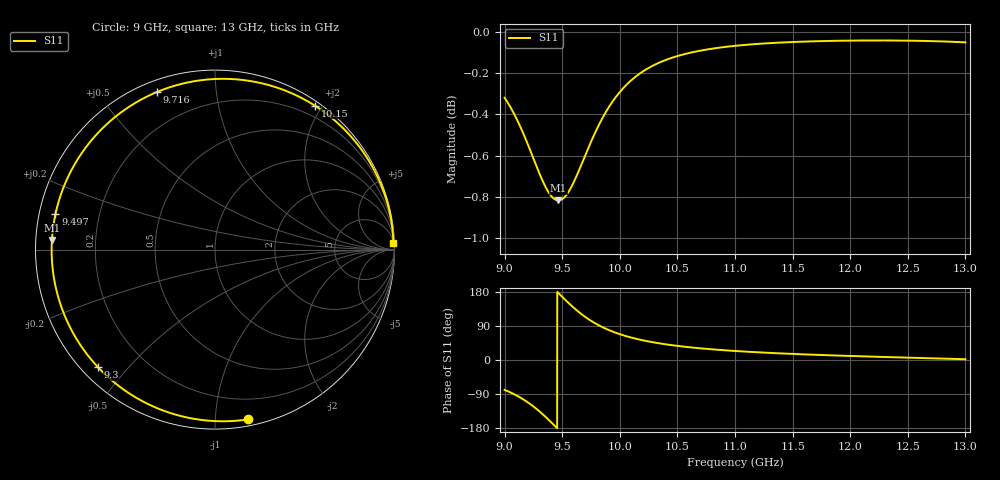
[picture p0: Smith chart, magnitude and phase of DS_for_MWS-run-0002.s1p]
! TOUCHSTONE file generated by CST DESIGN STUDIO
! Date and time: Tue Feb  4 18:46:36 2025
! Project name: C:\Work\MatlabApps\UnitCellOptimizationMatlab\CST\unitcell.cst
! Tree item: Tasks\Sweep1\SPara1\S-Parameters
! Header version: 2024
! Port assignment regex: !\s*Touchstone port\s*([0-9]+)\s*=\s*(CST MWS port|CST DES external port|CST DES block port)\s*(.+)\s* \(\"(.*)\"\)(\s*mode\s*([0-9]+))?.*
! Touchstone port assignment:
! Touchstone port 1 = CST DES external port 1 ("")
# GHz S MA R 50
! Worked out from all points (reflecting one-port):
!   4001 points, 9 GHz to 13 GHz, reference 50 ohm
!   lowest |S11| = -0.8 dB at 9.467 GHz (marker M1), VSWR 21.26, Z = 2.35 + j1.46 ohm
!   phase of S11 starts at -79 deg and turns -279 deg over the sweep
!   S11 on the Smith chart (normalised r, x): 9 GHz: 0.05, -1.22; 9.3 GHz: 0.05, -0.41; 9.497 GHz: 0.05, +0.11; 9.716 GHz: 0.05, +0.70; 10.15 GHz: 0.06, +1.91; 13 GHz: 9, +55
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9  0.964 -78.8
9.073  0.9564 -88.8
9.169  0.9439 -105.3
9.237  0.9338 -119.5
9.3  0.9243 -134.9
9.343  0.9185 -146.5
9.39  0.9135 -160.1
9.429  0.911 -171.8
9.467  0.9101 176.7
9.497  0.9107 167.5
9.5  0.9108 166.6
9.551  0.9141 151.6
9.61  0.9207 135.3
9.662  0.9279 122.3
9.716  0.9357 110.2
9.772  0.9435 99.3
9.834  0.9513 89.0
9.915  0.9599 77.7
10  0.9671 68.1
10.151  0.9761 55.3
10.309  0.9821 45.6
10.5  0.9867 37.2
10.722  0.99 30.2
11  0.9924 23.8
11.5  0.9945 16.0
12  0.9953 10.6
12.5  0.9953 6.2
13  0.9943 2.0
